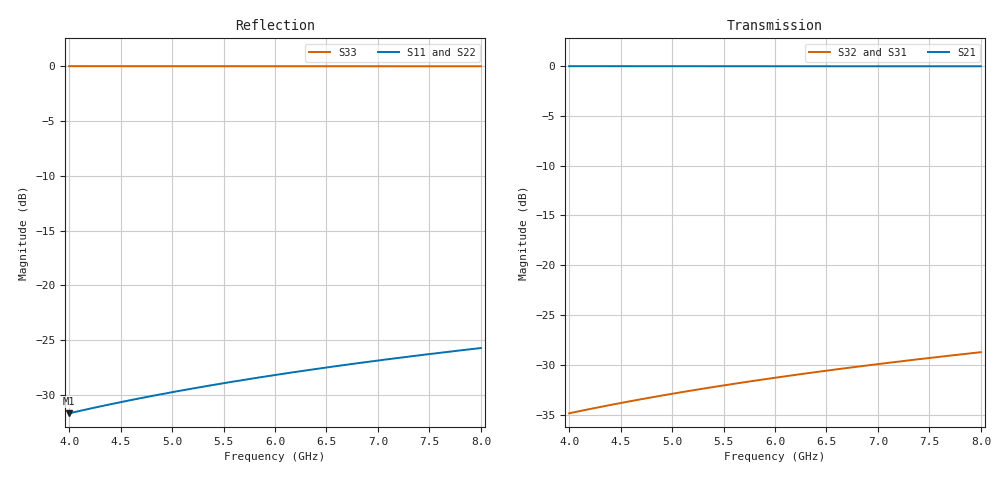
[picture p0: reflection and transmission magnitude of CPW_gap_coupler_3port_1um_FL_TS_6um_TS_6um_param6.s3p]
! Sonnet Data File
! From: em Version : 15.52
! From Project: CPW_gap_coupler_3port_1um_FL_TS_6um
! Data is De-embedded
! Data File Written: 08/14/2018 17:24:40
!< HDATE 08/14/2018 17:19:51
!< MDATE 08/14/2018 17:19:51
!< PARAMS
!< gap = 2.0
!< cpwS = 5.0
!< cpwS1 = 5.0
!< feedW = 12.0
!< feedS1 = 5.0
!< cond_length = 544.0
!< inner_length = 526.0
!< hangerW = 12.0000175
!< open_gap = 22.0
!< coupler_length = 550.0
!< END PARAMS
# GHZ S MA R 50.00000
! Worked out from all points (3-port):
!   201 points, 4 GHz to 8 GHz, reference 50 ohm
!   strongest paths, dB at 4 GHz, 5 GHz, 6 GHz, 7 GHz, 8 GHz:
!     S21: 0.0, 0.0, 0.0, 0.0, 0.0
!     S32: -34.9, -32.9, -31.3, -29.9, -28.7
!     S31: -34.9, -33.0, -31.4, -30.0, -28.9
!   lowest |S11| = -31.7 dB at 4 GHz (marker M1), VSWR 1.05, Z = 50.3 + j2.6 ohm
!   |S11| at or under -10 dB: start of sweep to end of sweep
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4  0.02608 81.9  0.9995 -9.1  0.01797 74.8
   0.9995 -9.1  0.02602 80.6  0.01805 84.4
   0.01797 74.8  0.01805 84.4  0.9997 -13.1
4.22  0.02751 81.4  0.9994 -9.6  0.01896 74.0
      0.9994 -9.6  0.02744 80.1  0.01906 84.1
      0.01896 74.0  0.01906 84.1  0.9996 -13.9
4.46  0.02906 80.9  0.9994 -10.2  0.02004 73.1
      0.9994 -10.2  0.02898 79.5  0.02015 83.7
      0.02004 73.1  0.02015 83.7  0.9996 -14.7
4.94  0.03217 80.0  0.9992 -11.2  0.02219 71.3
      0.9992 -11.2  0.03206 78.4  0.02235 83.0
      0.02219 71.3  0.02235 83.0  0.9995 -16.2
5.48  0.03565 78.9  0.9991 -12.5  0.02462 69.2
      0.9991 -12.5  0.03551 77.2  0.02483 82.3
      0.02462 69.2  0.02483 82.3  0.9994 -18.0
6  0.039 77.8  0.9989 -13.7  0.02696 67.2
   0.9989 -13.7  0.0388 75.9  0.02724 81.5
   0.02696 67.2  0.02724 81.5  0.9993 -19.8
6.46  0.04195 76.9  0.9987 -14.7  0.02903 65.5
      0.9987 -14.7  0.04171 74.9  0.02937 80.8
      0.02903 65.5  0.02937 80.8  0.9991 -21.3
6.94  0.04502 75.9  0.9985 -15.8  0.03119 63.7
      0.9985 -15.8  0.04472 73.7  0.03161 80.1
      0.03119 63.7  0.03161 80.1  0.999 -22.9
7.44  0.04821 74.9  0.9983 -16.9  0.03344 61.8
      0.9983 -16.9  0.04784 72.6  0.03396 79.4
      0.03344 61.8  0.03396 79.4  0.9989 -24.6
8  0.05177 73.7  0.998 -18.2  0.03595 59.6
   0.998 -18.2  0.05131 71.3  0.0366 78.5
   0.03595 59.6  0.0366 78.5  0.9987 -26.4
